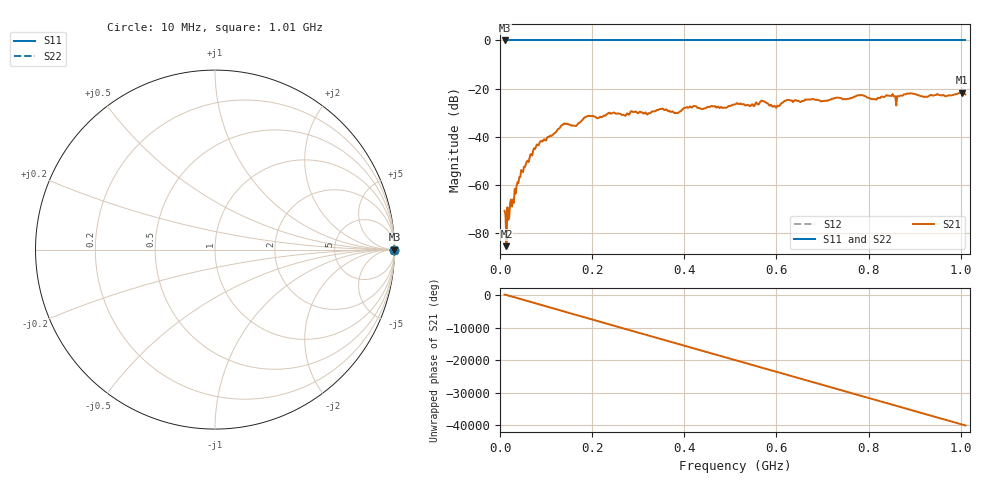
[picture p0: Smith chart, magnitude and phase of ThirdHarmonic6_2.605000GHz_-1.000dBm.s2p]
! 8/17/2025 5:40:07 AM
! C:\ANRITSUVNA\TEMP\TEMP.S2P
! CHANNEL.1
! TR.MEASUREMENT
! RAW.DATA
! RF.CORRECTION.OFF
! AVERAGING.OFF
! IF.BANDWIDTH: 5KHZ
! SWEEPTYPE:  FREQ.SWEEP(Linear)
! Reference Plane Port Info
! PORT:  PORT1  PORT2
! DISTANCE:  0  m  0  m
! TIME:  0  s  0  s
! PHASE.OFFSET:  0  deg.  0  deg.
! LOSS:  0  dB  0  dB
! REF.LOSS:  0  dB  0  dB
! REF.FREQ:  0  Hz  0  Hz
! Power Info
! POWER:  -20  dBm  -20  dBm
! EFF.POWER:  -20  dBm  -20  dBm
! SOURCE.ATTEN:  0  dB  0  dB
! TEST.ATTEN:  0  dB  0  dB
# GHZ S RI R 50.0
! FREQ.GHZ  S11RE  S11IM  S21RE  S21IM  S12RE  S12IM  S22RE  S22IM
!; PortSelection: Port_12
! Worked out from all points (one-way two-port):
!   501 points, 10 MHz to 1.01 GHz, reference 50 ohm
!   highest |S21| = -21.65 dB at 1.002 GHz (marker M1); lowest = -85.4 dB at 14 MHz (marker M2)
!   lowest |S11| = 0.0 dB at 10 MHz (marker M3)
!   |S11| at or under -10 dB: nowhere
!   |S22| runs from 0.0 to 0.0 dB; largest |S21 - S12| = 1.1
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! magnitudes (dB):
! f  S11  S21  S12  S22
! 10 MHz  0.0  -70.7  0.0  0.0
! 14 MHz  0.0  -85.4  0.0  0.0
! 18 MHz  0.0  -74.5  0.0  0.0
! 20 MHz  0.0  -73.3  0.0  0.0
! 44 MHz  0.0  -56.6  0.0  0.0
! 76 MHz  0.0  -45.0  0.0  0.0
! 136 MHz  0.0  -35.0  0.0  0.0
! 164 MHz  0.0  -35.5  0.0  0.0
! 178 MHz  0.0  -33.1  0.0  0.0
! 192 MHz  0.0  -31.3  0.0  0.0
! 322 MHz  0.0  -30.2  0.0  0.0
! 344 MHz  0.0  -28.8  0.0  0.0
! 382 MHz  0.0  -30.0  0.0  0.0
! 410 MHz  0.0  -27.8  0.0  0.0
! 510 MHz  0.0  -26.5  0.0  0.0
! 570 MHz  0.0  -25.2  0.0  0.0
! 596 MHz  0.0  -27.1  0.0  0.0
! 622 MHz  0.0  -24.7  0.0  0.0
! 678 MHz  0.0  -24.3  0.0  0.0
! 844 MHz  0.0  -22.9  0.0  0.0
! 1.002 GHz  0.0  -21.6  0.0  0.0
! 1.01 GHz  0.0  -22.4  0.0  0.0
